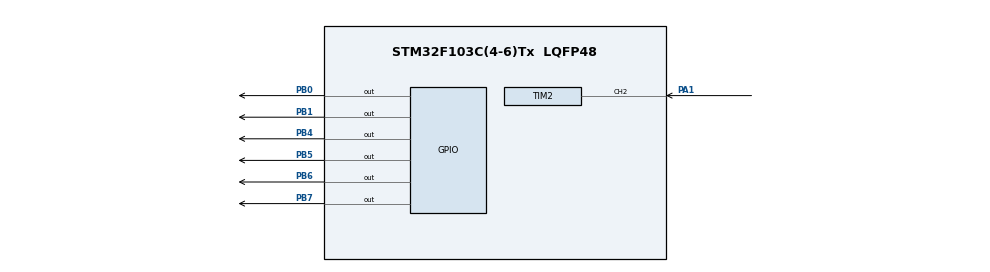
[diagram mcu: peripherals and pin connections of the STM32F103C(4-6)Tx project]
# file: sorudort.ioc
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Mcu.Family=STM32F1
Mcu.Name=STM32F103C(4-6)Tx
Mcu.Package=LQFP48
NVIC.PriorityGroup=NVIC_PRIORITYGROUP_4
NVIC.TIM2_IRQn=true\:0\:0\:false\:false\:true\:true\:true
PA1.Signal=S_TIM2_CH2
PB0.Signal=GPIO_Output
PB1.Signal=GPIO_Output
PB4.Signal=GPIO_Output
PB5.Signal=GPIO_Output
PB6.Signal=GPIO_Output
PB7.Signal=GPIO_Output
PD0-OSC_IN.Mode=HSE-External-Oscillator
PD0-OSC_IN.Signal=RCC_OSC_IN
PD1-OSC_OUT.Mode=HSE-External-Oscillator
PD1-OSC_OUT.Signal=RCC_OSC_OUT
ProjectManager.HeapSize=0x200
ProjectManager.StackSize=0x400
ProjectManager.TargetToolchain=STM32CubeIDE
RCC.APB1Freq_Value=8000000
RCC.APB2Freq_Value=8000000
RCC.SYSCLKSource=RCC_SYSCLKSOURCE_HSE
SH.S_TIM2_CH2.0=TIM2_CH2,TriggerSource_TI2FP2
TIM2.Period=1000
TIM2.Prescaler=0
VP_SYS_VS_ND.Mode=No_Debug
VP_TIM2_VS_ControllerModeClock.Mode=Clock Mode
board=custom

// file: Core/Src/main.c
/* USER CODE BEGIN Header */
/**
  ******************************************************************************
  * @file           : main.c
  * @brief          : Main program body
  ******************************************************************************
  * @attention
  *
  * <h2><center>&copy; Copyright (c) 2020 STMicroelectronics.
  * All rights reserved.</center></h2>
  *
  * This software component is licensed by ST under BSD 3-Clause license,
  * the "License"; You may not use this file except in compliance with the
  * License. You may obtain a copy of the License at:
  *                        opensource.org/licenses/BSD-3-Clause
  *
  ******************************************************************************
  */
/* USER CODE END Header */

#include "main.h"

/* USER CODE BEGIN Includes */
#include "lcd.h"
/* USER CODE END Includes */

TIM_HandleTypeDef htim2;

/* USER CODE BEGIN PV */
 int say=0;
 uint16_t tim2say=0;
/* USER CODE END PV */

void SystemClock_Config(void);
static void MX_GPIO_Init(void);
static void MX_TIM2_Init(void);

int main(void)
{

  /* MCU Configuration--------------------------------------------------------*/

  /* Reset of all peripherals, Initializes the Flash interface and the Systick. */
  HAL_Init();

  /* Configure the system clock */
  SystemClock_Config();

  /* Initialize all configured peripherals */
  MX_GPIO_Init();
  MX_TIM2_Init();
  /* USER CODE BEGIN 2 */

    HAL_TIM_Base_Start(&htim2);
    lcdInit();

  /* USER CODE END 2 */

  /* Infinite loop */
  /* USER CODE BEGIN WHILE */
  while (1)
  {
	      tim2say= TIM2->CNT;
	 	  displayInt(3, 0, tim2say);
	 	  HAL_Delay(2);
	 	  if(tim2say == 3)
	 		  writeStr(1, 0, "MERHABA");
	 	  else if(tim2say == 5)
	 		  writeStr(2, 0, "NASILSIN?");
	 	  else if(tim2say == 7) {
	 		  TIM2->CNT = 0;
	 		  clearLcd();
	 	  }
	 	  HAL_Delay(2);

    /* USER CODE END WHILE */

  }
}

void SystemClock_Config(void)
{
  RCC_OscInitTypeDef RCC_OscInitStruct = {0};
  RCC_ClkInitTypeDef RCC_ClkInitStruct = {0};

  /** Initializes the CPU, AHB and APB busses clocks
  */
  RCC_OscInitStruct.OscillatorType = RCC_OSCILLATORTYPE_HSE;
  RCC_OscInitStruct.HSEState = RCC_HSE_ON;
  RCC_OscInitStruct.PLL.PLLState = RCC_PLL_NONE;
  if (HAL_RCC_OscConfig(&RCC_OscInitStruct) != HAL_OK)
  {
    Error_Handler();
  }
  /** Initializes the CPU, AHB and APB busses clocks
  */
  RCC_ClkInitStruct.ClockType = RCC_CLOCKTYPE_HCLK|RCC_CLOCKTYPE_SYSCLK
                              |RCC_CLOCKTYPE_PCLK1|RCC_CLOCKTYPE_PCLK2;
  RCC_ClkInitStruct.SYSCLKSource = RCC_SYSCLKSOURCE_HSE;
  RCC_ClkInitStruct.AHBCLKDivider = RCC_SYSCLK_DIV1;
  RCC_ClkInitStruct.APB1CLKDivider = RCC_HCLK_DIV1;
  RCC_ClkInitStruct.APB2CLKDivider = RCC_HCLK_DIV1;

  if (HAL_RCC_ClockConfig(&RCC_ClkInitStruct, FLASH_LATENCY_0) != HAL_OK)
  {
    Error_Handler();
  }
}

static void MX_TIM2_Init(void)
{

  TIM_SlaveConfigTypeDef sSlaveConfig = {0};
  TIM_MasterConfigTypeDef sMasterConfig = {0};

  htim2.Instance = TIM2;
  htim2.Init.Prescaler = 0;
  htim2.Init.CounterMode = TIM_COUNTERMODE_UP;
  htim2.Init.Period = 1000;
  htim2.Init.ClockDivision = TIM_CLOCKDIVISION_DIV1;
  htim2.Init.AutoReloadPreload = TIM_AUTORELOAD_PRELOAD_DISABLE;
  if (HAL_TIM_Base_Init(&htim2) != HAL_OK)
  {
    Error_Handler();
  }
  sSlaveConfig.SlaveMode = TIM_SLAVEMODE_EXTERNAL1;
  sSlaveConfig.InputTrigger = TIM_TS_TI2FP2;
  sSlaveConfig.TriggerPolarity = TIM_TRIGGERPOLARITY_RISING;
  sSlaveConfig.TriggerFilter = 0;
  if (HAL_TIM_SlaveConfigSynchro(&htim2, &sSlaveConfig) != HAL_OK)
  {
    Error_Handler();
  }
  sMasterConfig.MasterOutputTrigger = TIM_TRGO_RESET;
  sMasterConfig.MasterSlaveMode = TIM_MASTERSLAVEMODE_DISABLE;
  if (HAL_TIMEx_MasterConfigSynchronization(&htim2, &sMasterConfig) != HAL_OK)
  {
    Error_Handler();
  }

}

static void MX_GPIO_Init(void)
{
  GPIO_InitTypeDef GPIO_InitStruct = {0};

  /* GPIO Ports Clock Enable */
  __HAL_RCC_GPIOD_CLK_ENABLE();
  __HAL_RCC_GPIOA_CLK_ENABLE();
  __HAL_RCC_GPIOB_CLK_ENABLE();

  /*Configure GPIO pin Output Level */
  HAL_GPIO_WritePin(GPIOB, GPIO_PIN_0|GPIO_PIN_1|GPIO_PIN_4|GPIO_PIN_5
                          |GPIO_PIN_6|GPIO_PIN_7, GPIO_PIN_RESET);

  /*Configure GPIO pins : PB0 PB1 PB4 PB5
                           PB6 PB7 */
  GPIO_InitStruct.Pin = GPIO_PIN_0|GPIO_PIN_1|GPIO_PIN_4|GPIO_PIN_5
                          |GPIO_PIN_6|GPIO_PIN_7;
  GPIO_InitStruct.Mode = GPIO_MODE_OUTPUT_PP;
  GPIO_InitStruct.Pull = GPIO_NOPULL;
  GPIO_InitStruct.Speed = GPIO_SPEED_FREQ_LOW;
  HAL_GPIO_Init(GPIOB, &GPIO_InitStruct);

}

void Error_Handler(void)
{
}

/************************ (C) COPYRIGHT STMicroelectronics *****END OF FILE****/
